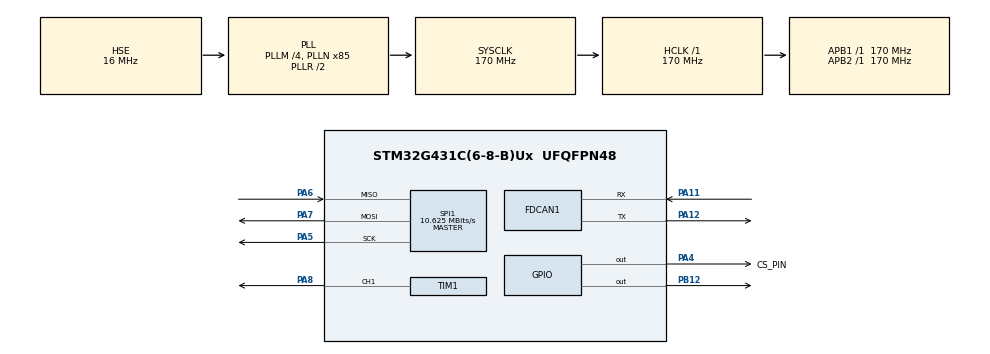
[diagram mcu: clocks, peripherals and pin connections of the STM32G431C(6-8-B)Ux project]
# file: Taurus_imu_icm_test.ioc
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Dma.Request0=SPI1_RX
Dma.Request1=SPI1_TX
Dma.SPI1_RX.0.Direction=DMA_PERIPH_TO_MEMORY
Dma.SPI1_RX.0.EventEnable=DISABLE
Dma.SPI1_RX.0.Instance=DMA1_Channel1
Dma.SPI1_RX.0.MemDataAlignment=DMA_MDATAALIGN_BYTE
Dma.SPI1_RX.0.MemInc=DMA_MINC_ENABLE
Dma.SPI1_RX.0.Mode=DMA_NORMAL
Dma.SPI1_RX.0.PeriphDataAlignment=DMA_PDATAALIGN_BYTE
Dma.SPI1_RX.0.PeriphInc=DMA_PINC_DISABLE
Dma.SPI1_RX.0.Polarity=HAL_DMAMUX_REQ_GEN_RISING
Dma.SPI1_RX.0.Priority=DMA_PRIORITY_VERY_HIGH
Dma.SPI1_RX.0.RequestNumber=1
Dma.SPI1_RX.0.SignalID=NONE
Dma.SPI1_RX.0.SyncEnable=DISABLE
Dma.SPI1_RX.0.SyncPolarity=HAL_DMAMUX_SYNC_NO_EVENT
Dma.SPI1_RX.0.SyncRequestNumber=1
Dma.SPI1_RX.0.SyncSignalID=NONE
Dma.SPI1_TX.1.Direction=DMA_MEMORY_TO_PERIPH
Dma.SPI1_TX.1.EventEnable=DISABLE
Dma.SPI1_TX.1.Instance=DMA1_Channel2
Dma.SPI1_TX.1.MemDataAlignment=DMA_MDATAALIGN_BYTE
Dma.SPI1_TX.1.MemInc=DMA_MINC_ENABLE
Dma.SPI1_TX.1.Mode=DMA_NORMAL
Dma.SPI1_TX.1.PeriphDataAlignment=DMA_PDATAALIGN_BYTE
Dma.SPI1_TX.1.PeriphInc=DMA_PINC_DISABLE
Dma.SPI1_TX.1.Polarity=HAL_DMAMUX_REQ_GEN_RISING
Dma.SPI1_TX.1.Priority=DMA_PRIORITY_VERY_HIGH
Dma.SPI1_TX.1.RequestNumber=1
Dma.SPI1_TX.1.SignalID=NONE
Dma.SPI1_TX.1.SyncEnable=DISABLE
Dma.SPI1_TX.1.SyncPolarity=HAL_DMAMUX_SYNC_NO_EVENT
Dma.SPI1_TX.1.SyncRequestNumber=1
Dma.SPI1_TX.1.SyncSignalID=NONE
FDCAN1.AutoRetransmission=ENABLE
FDCAN1.CalculateBaudRateNominal=999999
FDCAN1.CalculateTimeBitNominal=1000
FDCAN1.CalculateTimeQuantumNominal=58.82352941176471
FDCAN1.DataPrescaler=5
FDCAN1.DataTimeSeg1=8
FDCAN1.DataTimeSeg2=8
FDCAN1.FrameFormat=FDCAN_FRAME_FD_BRS
FDCAN1.NominalPrescaler=10
FDCAN1.NominalTimeSeg1=8
FDCAN1.NominalTimeSeg2=8
FDCAN1.ProtocolException=ENABLE
FDCAN1.StdFiltersNbr=0
IWDG.Prescaler=IWDG_PRESCALER_8
Mcu.Family=STM32G4
Mcu.Name=STM32G431C(6-8-B)Ux
Mcu.Package=UFQFPN48
NVIC.DMA1_Channel1_IRQn=true\:0\:0\:false\:false\:true\:false\:true\:true
NVIC.DMA1_Channel2_IRQn=true\:0\:0\:false\:false\:true\:false\:true\:true
NVIC.PriorityGroup=NVIC_PRIORITYGROUP_4
NVIC.TIM2_IRQn=true\:15\:0\:false\:false\:true\:false\:true\:true
NVIC.TIM3_IRQn=true\:0\:0\:false\:false\:true\:true\:true\:true
NVIC.TimeBase=TIM2_IRQn
NVIC.TimeBaseIP=TIM2
PA11.Mode=FDCAN_Activate
PA11.Signal=FDCAN1_RX
PA12.Mode=FDCAN_Activate
PA12.Signal=FDCAN1_TX
PA13.Mode=Serial_Wire
PA13.Signal=SYS_JTMS-SWDIO
PA14.Mode=Serial_Wire
PA14.Signal=SYS_JTCK-SWCLK
PA4.GPIO_Label=CS_PIN
PA4.GPIO_PuPd=GPIO_PULLUP
PA4.GPIO_Speed=GPIO_SPEED_FREQ_HIGH
PA4.PinState=GPIO_PIN_SET
PA4.Signal=GPIO_Output
PA5.GPIO_Speed=GPIO_SPEED_FREQ_VERY_HIGH
PA5.Mode=Full_Duplex_Master
PA5.Signal=SPI1_SCK
PA6.GPIO_Speed=GPIO_SPEED_FREQ_VERY_HIGH
PA6.Mode=Full_Duplex_Master
PA6.Signal=SPI1_MISO
PA7.GPIO_Speed=GPIO_SPEED_FREQ_VERY_HIGH
PA7.Mode=Full_Duplex_Master
PA7.Signal=SPI1_MOSI
PA8.Signal=S_TIM1_CH1
PB12.GPIO_ModeDefaultOutputPP=GPIO_MODE_OUTPUT_PP
PB12.GPIO_PuPd=GPIO_PULLDOWN
PB12.Signal=GPIO_Output
PF0-OSC_IN.Mode=HSE-External-Oscillator
PF0-OSC_IN.Signal=RCC_OSC_IN
PF1-OSC_OUT.Mode=HSE-External-Oscillator
PF1-OSC_OUT.Signal=RCC_OSC_OUT
ProjectManager.HeapSize=0x800
ProjectManager.StackSize=0x800
ProjectManager.TargetToolchain=MDK-ARM V5.32
RCC.ADC12Freq_Value=170000000
RCC.AHBFreq_Value=170000000
RCC.APB1Freq_Value=170000000
RCC.APB1TimFreq_Value=170000000
RCC.APB2Freq_Value=170000000
RCC.APB2TimFreq_Value=170000000
RCC.CortexFreq_Value=170000000
RCC.EXTERNAL_CLOCK_VALUE=12288000
RCC.HCLKFreq_Value=170000000
RCC.HSE_VALUE=16000000
RCC.HSI48_VALUE=48000000
RCC.HSI_VALUE=16000000
RCC.LSE_VALUE=32768
RCC.PLLM=RCC_PLLM_DIV4
RCC.PLLN=85
RCC.PLLSourceVirtual=RCC_PLLSOURCE_HSE
RCC.SYSCLKFreq_VALUE=170000000
RCC.SYSCLKSource=RCC_SYSCLKSOURCE_PLLCLK
RCC.USBFreq_Value=170000000
RCC.VCOOutputFreq_Value=340000000
SH.S_TIM1_CH1.0=TIM1_CH1,PWM Generation1 CH1
SPI1.BaudRatePrescaler=SPI_BAUDRATEPRESCALER_16
SPI1.CLKPhase=SPI_PHASE_1EDGE
SPI1.CLKPolarity=SPI_POLARITY_LOW
SPI1.CalculateBaudRate=10.625 MBits/s
SPI1.DataSize=SPI_DATASIZE_8BIT
SPI1.Direction=SPI_DIRECTION_2LINES
SPI1.Mode=SPI_MODE_MASTER
SPI1.NSSPMode=SPI_NSS_PULSE_ENABLE
SPI1.VirtualType=VM_MASTER
TIM1.Channel-PWM\ Generation1\ CH1=TIM_CHANNEL_1
TIM1.PeriodNoDither=2000-1
TIM1.Prescaler=84-1
TIM3.AutoReloadPreload=TIM_AUTORELOAD_PRELOAD_ENABLE
TIM3.PeriodNoDither=1000-1
TIM3.Prescaler=170-1
VP_IWDG_VS_IWDG.Mode=IWDG_Activate
VP_SYS_VS_DBSignals.Mode=DisableDeadBatterySignals
VP_SYS_VS_tim2.Mode=TIM2
VP_TIM3_VS_ClockSourceINT.Mode=Internal
board=custom

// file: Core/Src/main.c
/* USER CODE BEGIN Header */
/**
  ******************************************************************************
  * @file           : main.c
  * @brief          : Main program body
  ******************************************************************************
  * @attention
  *
  * Copyright (c) 2024 STMicroelectronics.
  * All rights reserved.
  *
  * This software is licensed under terms that can be found in the LICENSE file
  * in the root directory of this software component.
  * If no LICENSE file comes with this software, it is provided AS-IS.
  *
  ******************************************************************************
  */
/* USER CODE END Header */
#include "main.h"
#include "dma.h"
#include "fdcan.h"
#include "iwdg.h"
#include "spi.h"
#include "tim.h"
#include "gpio.h"

/* USER CODE BEGIN Includes */
#include "bsp_dwt.h"
#include "ICM42688_driver.h"
#include "bsp_imu.h"
#include "bsp_flash.h"
#include "string.h"
#include "can_comm.h"
#include "bsp_PWM.h"
#include "pid.h"
#include "can_comm.h"
#include "Mahony.h"
#include "ekf_attitude.h"
#include "data_processing.h"
/* USER CODE END Includes */

/* USER CODE BEGIN PD */

//          #define Calibrate //操作此宏定义决定是否校准
//			#define Fdcan //操作此宏定义决定是否使用fdcan

/* USER CODE END PD */

/* USER CODE BEGIN PM */
uint32_t dwt_count;
float dt_can;
float TempWheninit = 45.0f;
static uint32_t led_count;

/* USER CODE END PM */

void SystemClock_Config(void);

int main(void)
{

  /* MCU Configuration--------------------------------------------------------*/

  /* Reset of all peripherals, Initializes the Flash interface and the Systick. */
  HAL_Init();

  /* Configure the system clock */
  SystemClock_Config();

  /* Initialize all configured peripherals */
  MX_GPIO_Init();
  MX_DMA_Init();
  MX_SPI1_Init();
  MX_TIM1_Init();
  MX_FDCAN1_Init();
  MX_TIM3_Init();
//  MX_IWDG_Init();
  /* USER CODE BEGIN 2 */
#ifndef Fdcan
  MY_FDCAN1_Init();
#endif

  DWT_Init(170);

  while(init_flag)
	ICM42688_init();

  ICM42688_init();
  HAL_Delay(100);

#ifndef Fdcan
  can_comm_init();
#else
  fdcan_comm_init();
#endif

  HAL_TIM_PWM_Start(&htim1, TIM_CHANNEL_1);

  HAL_Delay(100);
  PID_struct_init(&pid_temperature,POSITION_PID,2000, 300,1000, 20,0);

#ifdef Calibrate

	Calibrate_MPU_Offset(&IMU_Data);

	imu_flash_write(IMU_Data.Calidata,5);

#else
	float Bias[5];
	imu_flash_read(Bias,5);

  memcpy(IMU_Data.GyroOffset,Bias,3*sizeof(float));
	IMU_Data.AccelScale = Bias[3];
	IMU_Data.TempWhenCali = Bias[4];
	califlag = 1;
	bias_gyro_mode = Calibration_successful_mode;
#endif

	 HAL_Delay(100);

    /*使能定时器1中断*/
   HAL_TIM_Base_Start_IT(&htim3);
  /* USER CODE END 2 */

  /* Infinite loop */
  while (1)
  {

    /* USER CODE BEGIN 3 */

      if(init_flag)
      IMU_AHRS_Calcu_task();

		if(bias_gyro_mode == Calibration_error_mode)
			led_count +=10;
		else
			led_count +=1;

		if(	led_count % 1000 == 0)
			 HAL_GPIO_TogglePin(GPIOB,GPIO_PIN_12);

			DWT_Delay(0.00065f);

  }
  /* USER CODE END 3 */
}

void SystemClock_Config(void)
{
  RCC_OscInitTypeDef RCC_OscInitStruct = {0};
  RCC_ClkInitTypeDef RCC_ClkInitStruct = {0};

  /** Configure the main internal regulator output voltage
  */
  HAL_PWREx_ControlVoltageScaling(PWR_REGULATOR_VOLTAGE_SCALE1_BOOST);

  /** Initializes the RCC Oscillators according to the specified parameters
  * in the RCC_OscInitTypeDef structure.
  */
  RCC_OscInitStruct.OscillatorType = RCC_OSCILLATORTYPE_LSI|RCC_OSCILLATORTYPE_HSE;
  RCC_OscInitStruct.HSEState = RCC_HSE_ON;
  RCC_OscInitStruct.LSIState = RCC_LSI_ON;
  RCC_OscInitStruct.PLL.PLLState = RCC_PLL_ON;
  RCC_OscInitStruct.PLL.PLLSource = RCC_PLLSOURCE_HSE;
  RCC_OscInitStruct.PLL.PLLM = RCC_PLLM_DIV4;
  RCC_OscInitStruct.PLL.PLLN = 85;
  RCC_OscInitStruct.PLL.PLLP = RCC_PLLP_DIV2;
  RCC_OscInitStruct.PLL.PLLQ = RCC_PLLQ_DIV2;
  RCC_OscInitStruct.PLL.PLLR = RCC_PLLR_DIV2;
  if (HAL_RCC_OscConfig(&RCC_OscInitStruct) != HAL_OK)
  {
    Error_Handler();
  }

  /** Initializes the CPU, AHB and APB buses clocks
  */
  RCC_ClkInitStruct.ClockType = RCC_CLOCKTYPE_HCLK|RCC_CLOCKTYPE_SYSCLK
                              |RCC_CLOCKTYPE_PCLK1|RCC_CLOCKTYPE_PCLK2;
  RCC_ClkInitStruct.SYSCLKSource = RCC_SYSCLKSOURCE_PLLCLK;
  RCC_ClkInitStruct.AHBCLKDivider = RCC_SYSCLK_DIV1;
  RCC_ClkInitStruct.APB1CLKDivider = RCC_HCLK_DIV1;
  RCC_ClkInitStruct.APB2CLKDivider = RCC_HCLK_DIV1;

  if (HAL_RCC_ClockConfig(&RCC_ClkInitStruct, FLASH_LATENCY_4) != HAL_OK)
  {
    Error_Handler();
  }
}

/* USER CODE BEGIN 4 */
static uint32_t send_dnt = 0;
/* USER CODE END 4 */

void HAL_TIM_PeriodElapsedCallback(TIM_HandleTypeDef *htim)
{
  if (htim->Instance == TIM2) {
    HAL_IncTick();
  }
  /* USER CODE BEGIN Callback 1 */

	if(htim->Instance==TIM3)
	{
		dt_can = DWT_GetDeltaT(&dwt_count);
#ifndef Fdcan
	if(send_dnt++ % 2 == 0){
			can_std_transmit(&hfdcan1,0x011,imu_msg_send.pit_msg.array);
			can_std_transmit(&hfdcan1,0x012,imu_msg_send.yaw_msg.array);
		}
		else{
			can_std_transmit(&hfdcan1,0x013,imu_msg_send.rol_msg.array);
//			can_std_transmit(&hfdcan1,0x014,imu_msg_send.cha_angle_msg.array);
		}
#else
		if(send_dnt++ % 2 == 0)
			can_std_transmit(&hfdcan1,0x016,imu_msg_send.all_angle_msg.array);
#endif
//

//	can_std_transmit(&hfdcan1,0x011,imu_msg_send.pit_msg.array);
//	can_std_transmit(&hfdcan1,0x012,imu_msg_send.yaw_msg.array);

//	can_std_transmit(&hfdcan1,0x013,imu_msg_send.rol_msg.array);
//	can_std_transmit(&hfdcan1,0x014,imu_msg_send.cha_angle_msg.array);

//

	//sentry
//	can_std_transmit(&hfdcan1,0x001,imu_msg_send.gim_w_msg.array);
//	can_std_transmit(&hfdcan1,0x002,imu_msg_send.gim_angle_msg.array);

	}
  /* USER CODE END Callback 1 */
}

void Error_Handler(void)
{
  __disable_irq();
  while (1)
  {
  }
}
